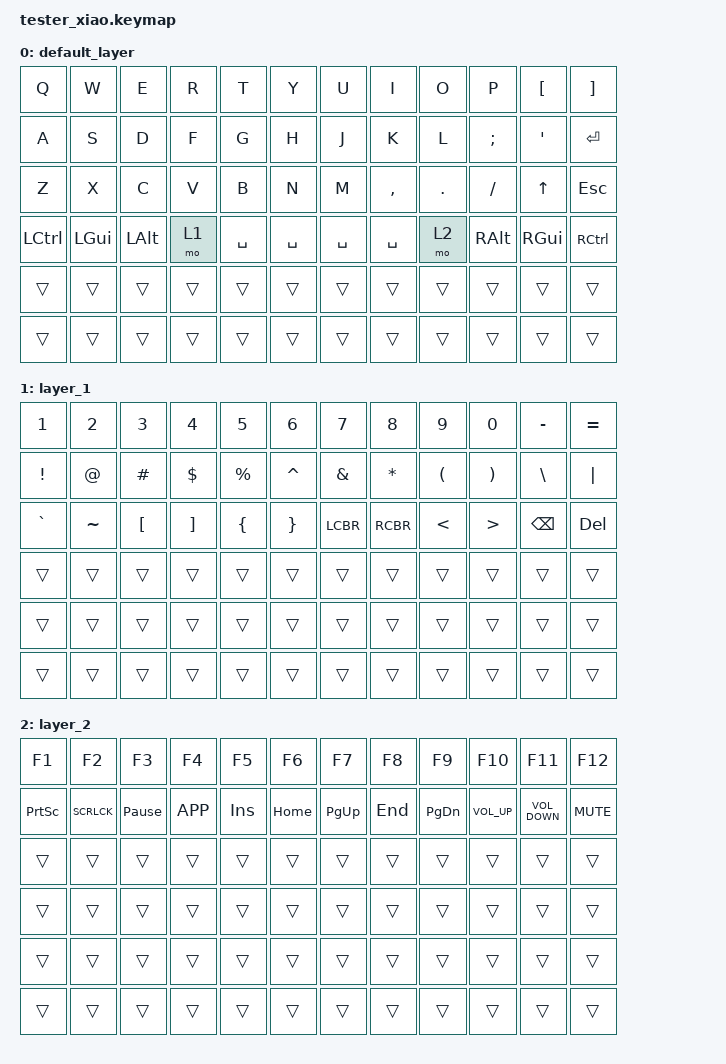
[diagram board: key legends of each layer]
// my_6x12_ioe.keymap

#include <dt-bindings/zmk/keys.h> // キーコードの定義
#include <dt-bindings/zmk/behaviors.h> // レイヤー切り替えなどの動作

/ {
    keymap {
        compatible = "zmk,keymap";

        default_layer {
            // ベースレイヤー (Layer 0)
            bindings = <
                &kp Q   &kp W   &kp E   &kp R   &kp T   &kp Y   &kp U   &kp I   &kp O   &kp P   &kp LBKT &kp RBKT // Row 0
                &kp A   &kp S   &kp D   &kp F   &kp G   &kp H   &kp J   &kp K   &kp L   &kp SEMI &kp SQT  &kp ENTER // Row 1
                &kp Z   &kp X   &kp C   &kp V   &kp B   &kp N   &kp M   &kp COMMA &kp DOT &kp SLASH &kp UP  &kp ESC // Row 2
                &kp LCTRL &kp LGUI &kp LALT &mo 1 &kp SPACE &kp SPACE &kp SPACE &kp SPACE &mo 2 &kp RALT &kp RGUI &kp RCTRL // Row 3 (Spacebar や Modifiers)
                &trans  &trans  &trans  &trans  &trans  &trans  &trans  &trans  &trans  &trans  &trans  &trans // Row 4 (もしあれば)
                &trans  &trans  &trans  &trans  &trans  &trans  &trans  &trans  &trans  &trans  &trans  &trans // Row 5 (もしあれば)
            >;
        };

        layer_1 {
            // レイヤー 1 (モディファイア、記号など)
            // default_layer の &mo 1 で切り替わる
            bindings = <
                &kp N1  &kp N2  &kp N3  &kp N4  &kp N5  &kp N6  &kp N7  &kp N8  &kp N9  &kp N0  &kp MINUS &kp EQUAL // Row 0
                &kp EXCL &kp AT &kp HASH &kp DLLR &kp PRCNT &kp CARET &kp AMPS &kp ASTRK &kp LPAR &kp RPAR &kp BSLH &kp PIPE // Row 1
                &kp GRAVE &kp TILDE &kp LEFT_BRACKET &kp RIGHT_BRACKET &kp LBRC &kp RBRC &kp LCBR &kp RCBR &kp LT &kp GT &kp BSPC &kp DEL // Row 2
                &trans  &trans  &trans  &trans  &trans  &trans  &trans  &trans  &trans  &trans  &trans  &trans // Row 3
                &trans  &trans  &trans  &trans  &trans  &trans  &trans  &trans  &trans  &trans  &trans  &trans // Row 4
                &trans  &trans  &trans  &trans  &trans  &trans  &trans  &trans  &trans  &trans  &trans  &trans // Row 5
            >;
        };

        layer_2 {
            // レイヤー 2 (ファンクションキー、メディアキーなど)
            // default_layer の &mo 2 で切り替わる
            bindings = <
                &kp F1  &kp F2  &kp F3  &kp F4  &kp F5  &kp F6  &kp F7  &kp F8  &kp F9  &kp F10 &kp F11 &kp F12 // Row 0
                &kp PSCRN &kp SCRLCK &kp PAUSE_BREAK &kp K_APP &kp INSERT &kp HOME &kp PG_UP &kp END &kp PG_DN &kp K_VOLUME_UP &kp K_VOLUME_DOWN &kp K_MUTE // Row 1
                &trans  &trans  &trans  &trans  &trans  &trans  &trans  &trans  &trans  &trans  &trans  &trans // Row 2
                &trans  &trans  &trans  &trans  &trans  &trans  &trans  &trans  &trans  &trans  &trans  &trans // Row 3
                &trans  &trans  &trans  &trans  &trans  &trans  &trans  &trans  &trans  &trans  &trans  &trans // Row 4
                &trans  &trans  &trans  &trans  &trans  &trans  &trans  &trans  &trans  &trans  &trans  &trans // Row 5
            >;
        };
    };
};
